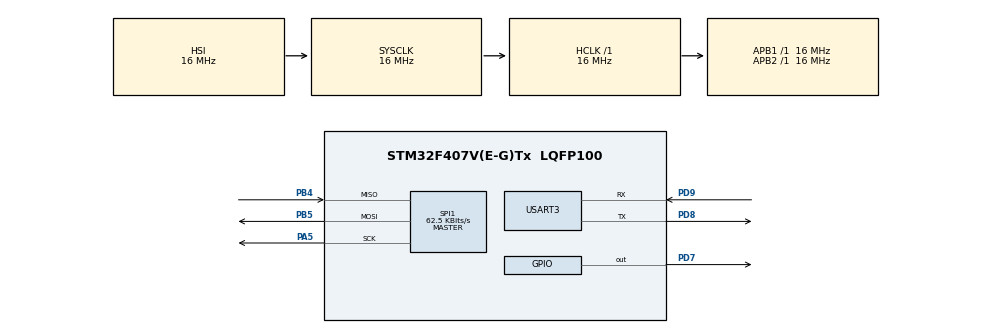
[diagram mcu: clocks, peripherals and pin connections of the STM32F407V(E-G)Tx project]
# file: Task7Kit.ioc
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Mcu.Family=STM32F4
Mcu.Name=STM32F407V(E-G)Tx
Mcu.Package=LQFP100
NVIC.PriorityGroup=NVIC_PRIORITYGROUP_4
PA13.Mode=Serial_Wire
PA13.Signal=SYS_JTMS-SWDIO
PA14.Mode=Serial_Wire
PA14.Signal=SYS_JTCK-SWCLK
PA5.Mode=Full_Duplex_Master
PA5.Signal=SPI1_SCK
PB4.Mode=Full_Duplex_Master
PB4.Signal=SPI1_MISO
PB5.Mode=Full_Duplex_Master
PB5.Signal=SPI1_MOSI
PD7.Signal=GPIO_Output
PD8.Mode=Asynchronous
PD8.Signal=USART3_TX
PD9.Mode=Asynchronous
PD9.Signal=USART3_RX
ProjectManager.HeapSize=0x200
ProjectManager.StackSize=0x400
ProjectManager.TargetToolchain=STM32CubeIDE
RCC.AHBFreq_Value=16000000
RCC.APB1Freq_Value=16000000
RCC.APB2Freq_Value=16000000
RCC.CortexFreq_Value=16000000
RCC.HSE_VALUE=25000000
RCC.HSI_VALUE=16000000
RCC.LSE_VALUE=32768
RCC.SYSCLKFreq_VALUE=16000000
RCC.VCOOutputFreq_Value=192000000
SPI1.BaudRatePrescaler=SPI_BAUDRATEPRESCALER_256
SPI1.CalculateBaudRate=62.5 KBits/s
SPI1.Direction=SPI_DIRECTION_2LINES
SPI1.Mode=SPI_MODE_MASTER
SPI1.VirtualType=VM_MASTER
USART3.VirtualMode=VM_ASYNC
board=custom

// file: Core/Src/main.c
/* USER CODE BEGIN Header */
/**
  ******************************************************************************
  * @file           : main.c
  * @brief          : Main program body
  ******************************************************************************
  * @attention
  *
  * Copyright (c) 2023 STMicroelectronics.
  * All rights reserved.
  *
  * This software is licensed under terms that can be found in the LICENSE file
  * in the root directory of this software component.
  * If no LICENSE file comes with this software, it is provided AS-IS.
  *
  ******************************************************************************
  */
/* USER CODE END Header */
#include "main.h"

/* USER CODE BEGIN Includes */
#include <stdio.h>
#include "stdlib.h"
#include "string.h"
/* USER CODE END Includes */

/* USER CODE BEGIN PD */
#define READ 0x03
#define MEM_ERASE 0x60
#define BYTE_WRITE 0x02
#define RDSR 0x05
#define WREN 0x06
#define WRSR 0x01
#define EWSR 0x50

#define MAX_SECTORS 0x1ff
#define MEM_SIZE Ox1fffff
#define SECTOR_SIZE 0xfff
/* USER CODE END PD */

/* USER CODE BEGIN PM */
#define ARRAY_SIZE(x) (sizeof((x)) / sizeof((x)[0]))
/* USER CODE END PM */

SPI_HandleTypeDef hspi1;

UART_HandleTypeDef huart3;

/* USER CODE BEGIN PV */
enum
{
	SPIShift_ON,
	SPIShift_OFF
};

enum
{
	Read,
	Write
};

const uint8_t *capsule[] =

				{
						"From: Lezhenin Pavlo, lezheninpasha@gmail.com\n",
						"Mentor: Artem Dovhal, artem.dovhal@globallogic.com\n",
						"Date 14.04.23\n", "TIME CAPSULE\n",
						">>> The Litany of Ignition <<<\n",
						"The soul of the Machine God surrounds thee\n",
						"The power of the Machine God invests thee\n",
						"The hate of the Machine God drives thee\n",
						"The Machine God endows thee with life\n",
						"Live!\n"
				};
/* USER CODE END PV */

void SystemClock_Config(void);
static void MX_GPIO_Init(void);
static void MX_SPI1_Init(void);
static void MX_USART3_UART_Init(void);
/* USER CODE BEGIN PFP */
int _write(int file, char *ptr, int len)
{
	HAL_UART_Transmit(&huart3, (uint8_t*) ptr, len, 10);
	return len;
}
/* USER CODE END PFP */

int main(void)
{

  /* MCU Configuration--------------------------------------------------------*/

  /* Reset of all peripherals, Initializes the Flash interface and the Systick. */
  HAL_Init();

  /* Configure the system clock */
  SystemClock_Config();

  /* Initialize all configured peripherals */
  MX_GPIO_Init();
  MX_SPI1_Init();
  MX_USART3_UART_Init();

  /* Infinite loop */
  /* USER CODE BEGIN WHILE */
  void SPIShift(_Bool status)
  {
	  HAL_GPIO_WritePin(GPIOD, GPIO_PIN_7, status);
  }

  void SPICommand(uint8_t* tx, uint8_t* rx, uint32_t sizeTx, uint32_t sizeRx, _Bool WR)
  {
	  uint8_t writeCommand = WREN;
	  if (WR == Write)
	  {
		  SPIShift(SPIShift_ON);
		  HAL_SPI_Transmit(&hspi1, &writeCommand, 1, 100);
		  SPIShift(SPIShift_OFF);

		  SPIShift(SPIShift_ON);
		  HAL_SPI_Transmit(&hspi1, tx, sizeTx, 100);
		  SPIShift(SPIShift_OFF);
	  }
	  else
	  {
		  SPIShift(SPIShift_ON);
		  HAL_SPI_Transmit(&hspi1, tx, sizeTx, 100);
		  HAL_SPI_Receive(&hspi1, rx, sizeRx, 100);
		  SPIShift(SPIShift_OFF);
	  }
  }

  void readMem(void)
  {
  	uint8_t readData;
  	uint16_t emptySector;
  	uint16_t addrSect = 0x00;
  	uint16_t addrCell = 0x00;
  	uint8_t readCommand[4];

  	for (addrSect = 0; addrSect <= MAX_SECTORS; addrSect++)
  	{
  		if (!emptySector)
  			printf("\r\nSector #0x%x (%dKb) //", addrSect, addrSect * 4);
  		for (addrCell = 0; addrCell <= SECTOR_SIZE; addrCell++)
  		{
  			readCommand[0] = READ;
  			readCommand[1] = (uint8_t) (addrSect >> 4);
  			readCommand[2] = (uint8_t) ((addrSect << 4) | (addrCell >> 8));
  			readCommand[3] = (uint8_t) (addrCell & 0xff);
  			SPICommand(readCommand, &readData, 4, 1, Read);
  			if (readData != 0xff)
  			{
  				switch (emptySector)
  				{
  					case 0:
  						printf("%c", readData);
  						emptySector = 0;
  						break;
  					case 1:
  						printf("Sector #0x%x (%dKb) //Empty\r\n", addrSect - 1, (addrSect - 1) * 4);
  						printf("\r\nsector #0x%x (%dKb) //%c", addrSect, addrSect * 4, readData);
  						emptySector = 0;
  						break;
  					default:
  						printf("Sector #0x%x...#0x%x //Empty\r\n", addrSect - emptySector, addrSect - 1);
  						printf("\r\nSector #0x%x (%dKb) //%c", addrSect, addrSect * 4, readData);
  						emptySector = 0;
  						break;
  				}
  			}
  			else if(addrCell == 0x00)
  			{
  				if(!emptySector)
  					printf("\r");
  				emptySector++;
  				break;
  			}

  			else
  				break;
  		}
  	}
  	if (emptySector)
  		{
  			printf("Sector #0x%x...#0x%x //Empty\r\n\n", (MAX_SECTORS - emptySector) + 1, MAX_SECTORS);
  		}
  }

  void isItReceive(void)
  {
  	uint8_t readCommand = RDSR;
  	uint8_t readRegister = 0;
  	do
  	SPICommand(&readCommand, &readRegister, 1,1 , Read);
  	while(readRegister & 0x01);
  }

  void eraseMem()
  {
	  uint8_t tx = MEM_ERASE;
	  SPICommand(&tx, NULL, 1, NULL, Write);
	  isItReceive();
	  printf("Memory clear\r\n");
  }

  void writeMem()
  {
	  eraseMem();
	  uint8_t* capsuleString;
	  uint16_t addrSect = 0x00;
	  uint16_t addrCell = 0x00;
	  uint8_t byteCommand[5] = { 0 };
	  for (addrSect = 0; addrSect < ARRAY_SIZE(capsule); addrSect++)
	  {
		  capsuleString = capsule[addrSect];
		  for (addrCell = 0; *capsuleString != '\0'; addrCell++, capsuleString++)
		  {
				byteCommand[0] = BYTE_WRITE;
				byteCommand[1] = (uint8_t)(addrSect >> 4);
				byteCommand[2] = (uint8_t)((addrSect << 4) | (addrCell >> 8));
				byteCommand[3] = (uint8_t)(addrCell & 0xff);
				byteCommand[4] = *capsuleString;
				SPICommand(byteCommand, NULL, 5, NULL, Write);

				if (*capsuleString == '\r')
				{
					addrCell++;
					byteCommand[0] = BYTE_WRITE;
					byteCommand[1] = (uint8_t) (addrSect >> 4);
					byteCommand[2] = (uint8_t) (addrSect << 4) | (addrCell >> 8);
					byteCommand[3] = (uint8_t) (addrCell & 0xff);
					byteCommand[4] = '\n';
					SPICommand(byteCommand, NULL, 5, NULL, Write);
				}
		  }
	  }
	  printf("Memory written\r\n");
  }

  uint8_t TxProtect [2] = { 0 };
  SPIShift(0);
  TxProtect[0] = EWSR;
  HAL_SPI_Transmit(&hspi1, TxProtect, 1, 100);
  SPIShift(1);
  SPIShift(0);
  TxProtect[0] = WRSR;
  TxProtect[1] = 0;
  HAL_SPI_Transmit(&hspi1, TxProtect, 2, 100);
  SPIShift(1);

  HAL_Delay(10);

  HAL_GPIO_WritePin(GPIOB, GPIO_PIN_7, GPIO_PIN_RESET);

  printf("If you want read memory send 1\r\n");
  printf("If you want clear memory send 2\r\n");
  printf("If you want write memory send 3\r\n");
  while (1)
  {
	  uint8_t Buf[1];
  	  HAL_StatusTypeDef result;
  	  result = HAL_UART_Receive(&huart3, Buf, 1, 10);
  	  if (result == HAL_OK)
  	  {
  		  switch (Buf[0])
  		  {
  		  	  case '1':
  		  		readMem();
  		  		break;

  		  	  case '2':
  		  		eraseMem();
  		  		break;

  		  	  case '3':
  		  		writeMem();
  		  		break;
  		  	  default:
  		  		printf("UnexpCmd\r\n");
  		  		break;
  		  }
  	  }
    /* USER CODE END WHILE */

  }
}

void SystemClock_Config(void)
{
  RCC_OscInitTypeDef RCC_OscInitStruct = {0};
  RCC_ClkInitTypeDef RCC_ClkInitStruct = {0};

  /** Configure the main internal regulator output voltage
  */
  __HAL_RCC_PWR_CLK_ENABLE();
  __HAL_PWR_VOLTAGESCALING_CONFIG(PWR_REGULATOR_VOLTAGE_SCALE1);

  /** Initializes the RCC Oscillators according to the specified parameters
  * in the RCC_OscInitTypeDef structure.
  */
  RCC_OscInitStruct.OscillatorType = RCC_OSCILLATORTYPE_HSI;
  RCC_OscInitStruct.HSIState = RCC_HSI_ON;
  RCC_OscInitStruct.HSICalibrationValue = RCC_HSICALIBRATION_DEFAULT;
  RCC_OscInitStruct.PLL.PLLState = RCC_PLL_NONE;
  if (HAL_RCC_OscConfig(&RCC_OscInitStruct) != HAL_OK)
  {
    Error_Handler();
  }

  /** Initializes the CPU, AHB and APB buses clocks
  */
  RCC_ClkInitStruct.ClockType = RCC_CLOCKTYPE_HCLK|RCC_CLOCKTYPE_SYSCLK
                              |RCC_CLOCKTYPE_PCLK1|RCC_CLOCKTYPE_PCLK2;
  RCC_ClkInitStruct.SYSCLKSource = RCC_SYSCLKSOURCE_HSI;
  RCC_ClkInitStruct.AHBCLKDivider = RCC_SYSCLK_DIV1;
  RCC_ClkInitStruct.APB1CLKDivider = RCC_HCLK_DIV1;
  RCC_ClkInitStruct.APB2CLKDivider = RCC_HCLK_DIV1;

  if (HAL_RCC_ClockConfig(&RCC_ClkInitStruct, FLASH_LATENCY_0) != HAL_OK)
  {
    Error_Handler();
  }
}

static void MX_SPI1_Init(void)
{

  /* SPI1 parameter configuration*/
  hspi1.Instance = SPI1;
  hspi1.Init.Mode = SPI_MODE_MASTER;
  hspi1.Init.Direction = SPI_DIRECTION_2LINES;
  hspi1.Init.DataSize = SPI_DATASIZE_8BIT;
  hspi1.Init.CLKPolarity = SPI_POLARITY_LOW;
  hspi1.Init.CLKPhase = SPI_PHASE_1EDGE;
  hspi1.Init.NSS = SPI_NSS_SOFT;
  hspi1.Init.BaudRatePrescaler = SPI_BAUDRATEPRESCALER_256;
  hspi1.Init.FirstBit = SPI_FIRSTBIT_MSB;
  hspi1.Init.TIMode = SPI_TIMODE_DISABLE;
  hspi1.Init.CRCCalculation = SPI_CRCCALCULATION_DISABLE;
  hspi1.Init.CRCPolynomial = 10;
  if (HAL_SPI_Init(&hspi1) != HAL_OK)
  {
    Error_Handler();
  }

}

static void MX_USART3_UART_Init(void)
{

  huart3.Instance = USART3;
  huart3.Init.BaudRate = 115200;
  huart3.Init.WordLength = UART_WORDLENGTH_8B;
  huart3.Init.StopBits = UART_STOPBITS_1;
  huart3.Init.Parity = UART_PARITY_NONE;
  huart3.Init.Mode = UART_MODE_TX_RX;
  huart3.Init.HwFlowCtl = UART_HWCONTROL_NONE;
  huart3.Init.OverSampling = UART_OVERSAMPLING_16;
  if (HAL_UART_Init(&huart3) != HAL_OK)
  {
    Error_Handler();
  }

}

static void MX_GPIO_Init(void)
{
  GPIO_InitTypeDef GPIO_InitStruct = {0};

  /* GPIO Ports Clock Enable */
  __HAL_RCC_GPIOA_CLK_ENABLE();
  __HAL_RCC_GPIOD_CLK_ENABLE();
  __HAL_RCC_GPIOB_CLK_ENABLE();

  /*Configure GPIO pin Output Level */
  HAL_GPIO_WritePin(GPIOD, GPIO_PIN_7, GPIO_PIN_RESET);

  /*Configure GPIO pin : PD7 */
  GPIO_InitStruct.Pin = GPIO_PIN_7;
  GPIO_InitStruct.Mode = GPIO_MODE_OUTPUT_PP;
  GPIO_InitStruct.Pull = GPIO_NOPULL;
  GPIO_InitStruct.Speed = GPIO_SPEED_FREQ_LOW;
  HAL_GPIO_Init(GPIOD, &GPIO_InitStruct);

}

void Error_Handler(void)
{
  __disable_irq();
  while (1)
  {
  }
}
